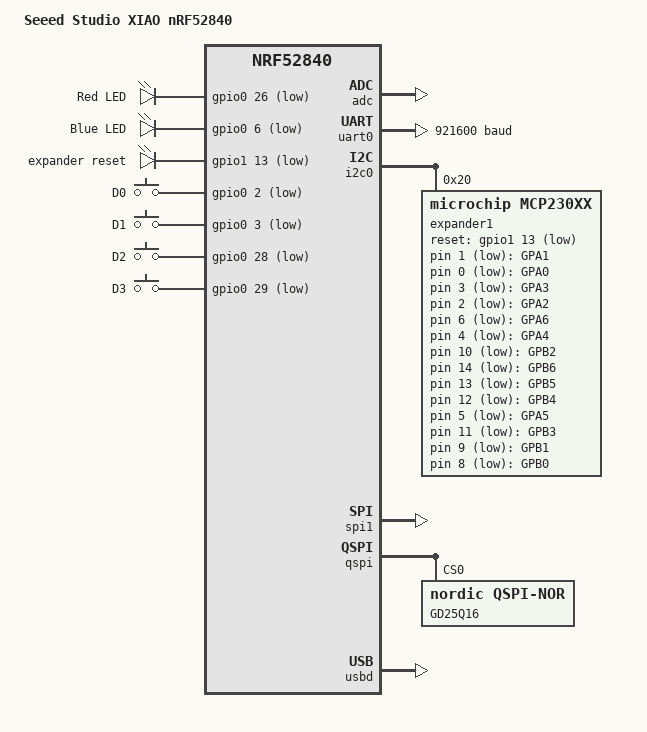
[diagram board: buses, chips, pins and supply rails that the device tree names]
/*
 * Copyright (c) 2020 Tobias Svehagen
 *
 * SPDX-License-Identifier: Apache-2.0
 */

/dts-v1/;
#include <nordic/nrf52840_qiaa.dtsi>
#include "seeed_xiao_nrf52840-pinctrl.dtsi"

/ {
	model = "Seeed Studio XIAO nRF52840";
	compatible = "seeed,xiao-nrf52840";

	chosen {
		zephyr,console = &uart0;
		zephyr,shell-uart = &uart0;
		zephyr,uart-mcumgr = &uart0;
		zephyr,bt-mon-uart = &uart0;
		zephyr,bt-c2h-uart = &uart0;
		zephyr,sram = &sram0;
		zephyr,flash = &flash0;
		zephyr,code-partition = &code_partition;
	};

	leds {
		compatible = "gpio-leds";
		led0: led_0 {
			gpios = <&gpio0 26 GPIO_ACTIVE_LOW>;
			label = "Red LED";
		};
		led1: led_1 {
			gpios = <&gpio0 6 GPIO_ACTIVE_LOW>;
			label = "Blue LED";
		};
		expanderreset: expander_reset {
			gpios = <&gpio1 13 GPIO_ACTIVE_LOW>;
			label = "expander reset";
		};
	};

	buttons {
		compatible = "gpio-keys";
		button0: button_0 { gpios = <&gpio0 2 (GPIO_PULL_UP | GPIO_ACTIVE_LOW)>; label = "D0"; };
		button1: button_1 { gpios = <&gpio0 3 (GPIO_PULL_UP | GPIO_ACTIVE_LOW)>; label = "D1"; };
		button2: button_2 { gpios = <&gpio0 28 (GPIO_PULL_UP | GPIO_ACTIVE_LOW)>; label = "D2"; };
		button3: button_3 { gpios = <&gpio0 29 (GPIO_PULL_UP | GPIO_ACTIVE_LOW)>; label = "D3"; };
		button21: button_21 { gpios = <&expander1 1 (GPIO_PULL_UP | GPIO_ACTIVE_LOW)>; label = "GPA1"; };
		button20: button_20 { gpios = <&expander1 0 (GPIO_PULL_UP | GPIO_ACTIVE_LOW)>; label = "GPA0"; };
		button23: button_23 { gpios = <&expander1 3 (GPIO_PULL_UP | GPIO_ACTIVE_LOW)>; label = "GPA3"; };
		button22: button_22 { gpios = <&expander1 2 (GPIO_PULL_UP | GPIO_ACTIVE_LOW)>; label = "GPA2"; };
		button26: button_26 { gpios = <&expander1 6 (GPIO_PULL_UP | GPIO_ACTIVE_LOW)>; label = "GPA6"; };
		button24: button_24 { gpios = <&expander1 4 (GPIO_PULL_UP | GPIO_ACTIVE_LOW)>; label = "GPA4"; };
		button32: button_32 { gpios = <&expander1 10 (GPIO_PULL_UP | GPIO_ACTIVE_LOW)>; label = "GPB2"; };
		button36: button_36 { gpios = <&expander1 14 (GPIO_PULL_UP | GPIO_ACTIVE_LOW)>; label = "GPB6"; };
		button35: button_35 { gpios = <&expander1 13 (GPIO_PULL_UP | GPIO_ACTIVE_LOW)>; label = "GPB5"; };
		button34: button_34 { gpios = <&expander1 12 (GPIO_PULL_UP | GPIO_ACTIVE_LOW)>; label = "GPB4"; };
		button25: button_25 { gpios = <&expander1 5 (GPIO_PULL_UP | GPIO_ACTIVE_LOW)>; label = "GPA5"; };
		button33: button_33 { gpios = <&expander1 11 (GPIO_PULL_UP | GPIO_ACTIVE_LOW)>; label = "GPB3"; };
		button31: button_31 { gpios = <&expander1 9 (GPIO_PULL_UP | GPIO_ACTIVE_LOW)>; label = "GPB1"; };
		button30: button_30 { gpios = <&expander1 8 (GPIO_PULL_UP | GPIO_ACTIVE_LOW)>; label = "GPB0"; };
	};

	/* These aliases are provided for compatibility with samples */
	aliases {
		led0 = &led0;
		led1 = &led1;
		sw0 = &button0;
		expanderreset = &expanderreset;
	};
};

&adc {
	status = "okay";
};

&gpiote {
	status = "okay";
};

&gpio0 {
	status = "okay";
	sense-edge-mask = < 0xffffffff >;
};

&gpio1 {
	status = "okay";
	sense-edge-mask = < 0xffffffff >;
};

&uart0 {
	compatible = "nordic,nrf-uart";
	current-speed = <921600>;
	status = "okay";
	pinctrl-0 = <&uart0_default>;
	pinctrl-1 = <&uart0_sleep>;
	pinctrl-names = "default", "sleep";
};

&i2c0 {
	compatible = "nordic,nrf-twi";
	status = "okay";
	pinctrl-0 = <&i2c0_default>;
	pinctrl-1 = <&i2c0_sleep>;
	pinctrl-names = "default", "sleep";

	expander1: mcp230xx@20 {
		compatible = "microchip,mcp230xx";
		reg = <0x20>;
		gpio-controller;
		#gpio-cells = <2>;
		ngpios = <16>;
/*		int-gpios = <&gpio1 13 0>; */
		reset-gpios = <&gpio1 13 GPIO_ACTIVE_LOW>;
	};

};

&spi1 {
	compatible = "nordic,nrf-spi";
	status = "okay";
	pinctrl-0 = <&spi1_default>;
	pinctrl-1 = <&spi1_sleep>;
	pinctrl-names = "default", "sleep";
};

&qspi {
	status = "okay";
	pinctrl-0 = <&qspi_default>;
	pinctrl-1 = <&qspi_sleep>;
	pinctrl-names = "default", "sleep";
	gd25q16: gd25q16@0 {
		compatible = "nordic,qspi-nor";
		reg = <0>;
		writeoc = "pp4o";
		readoc = "read4io";
		sck-frequency = <16000000>;
		label = "GD25Q16";
		jedec-id = [c8 40 15];
		size = <16777216>;
		has-dpd;
		t-enter-dpd = <20000>;
		t-exit-dpd = <20000>;
		quad-enable-requirements = "S2B1v1";
	};
};

&flash0 {

	partitions {
		compatible = "fixed-partitions";
		#address-cells = <1>;
		#size-cells = <1>;

		sd_partition: partition@0 {
			label = "softdevice";
			reg = <0x00000000 0x00027000>;
		};

		code_partition: partition@27000 {
			label = "code_partition";
			reg = <0x00027000 0x000c5000>;
		};

		storage_partition: partition@ec000 {
			label = "storage";
			reg = <0x000ec000 0x00008000>;
		};

		boot_partition: partition@f4000 {
			label = "adafruit_boot";
			reg = <0x000f4000 0x0000c000>;
		};
	};
};

zephyr_udc0: &usbd {
	compatible = "nordic,nrf-usbd";
	status = "okay";
};
